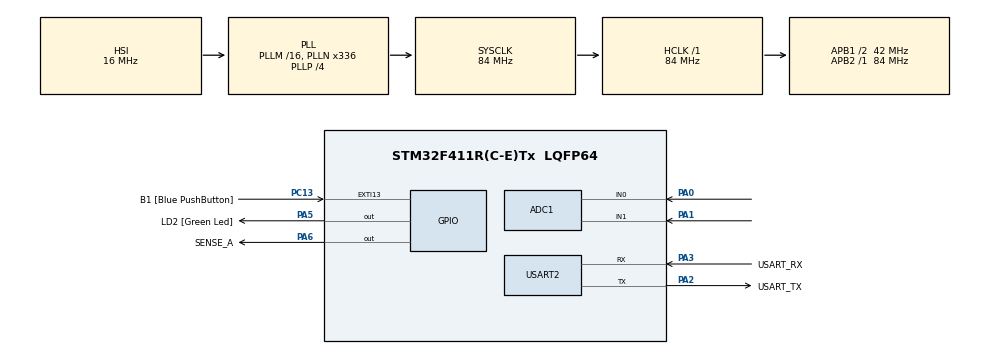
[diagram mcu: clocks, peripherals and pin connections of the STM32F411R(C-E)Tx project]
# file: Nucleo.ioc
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ADC1.Channel-0\#ChannelRegularConversion=ADC_CHANNEL_0
ADC1.Channel-1\#ChannelRegularConversion=ADC_CHANNEL_1
ADC1.Channel-2\#ChannelRegularConversion=ADC_CHANNEL_TEMPSENSOR
ADC1.ContinuousConvMode=ENABLE
ADC1.NbrOfConversion=3
ADC1.NbrOfConversionFlag=1
ADC1.Rank-0\#ChannelRegularConversion=1
ADC1.Rank-1\#ChannelRegularConversion=2
ADC1.Rank-2\#ChannelRegularConversion=3
ADC1.SamplingTime-0\#ChannelRegularConversion=ADC_SAMPLETIME_28CYCLES
ADC1.SamplingTime-1\#ChannelRegularConversion=ADC_SAMPLETIME_84CYCLES
ADC1.SamplingTime-2\#ChannelRegularConversion=ADC_SAMPLETIME_112CYCLES
ADC1.ScanConvMode=ENABLE
ADC1.master=1
FREERTOS.INCLUDE_vTaskDelayUntil=1
FREERTOS.Tasks01=ControlLogic,0,128,startControlLogic,Default,NULL,Static,ControlLogicBuffer,ControlLogicControlBlock;Acquisition,3,128,startAcquisition,Default,NULL,Static,AcquisitionBuffer,AcquisitionControlBlock;Processing,0,128,startProcessing,Default,NULL,Static,ProcessingBuffer,ProcessingControlBlock;Monitoring,-2,128,startMonitoring,Default,NULL,Static,MonitoringBuffer,MonitoringControlBlock
Mcu.Family=STM32F4
Mcu.Name=STM32F411R(C-E)Tx
Mcu.Package=LQFP64
NVIC.PriorityGroup=NVIC_PRIORITYGROUP_4
PA0-WKUP.Signal=ADCx_IN0
PA1.Signal=ADCx_IN1
PA13.GPIO_Label=TMS
PA13.Mode=Serial_Wire
PA13.Signal=SYS_JTMS-SWDIO
PA14.GPIO_Label=TCK
PA14.Mode=Serial_Wire
PA14.Signal=SYS_JTCK-SWCLK
PA2.GPIO_Label=USART_TX
PA2.Mode=Asynchronous
PA2.Signal=USART2_TX
PA3.GPIO_Label=USART_RX
PA3.Mode=Asynchronous
PA3.Signal=USART2_RX
PA5.GPIO_Label=LD2 [Green Led]
PA5.Signal=GPIO_Output
PA6.GPIO_Label=SENSE_A
PA6.Signal=GPIO_Output
PB3.GPIO_Label=SWO
PB3.Signal=SYS_JTDO-SWO
PC13-ANTI_TAMP.GPIO_Label=B1 [Blue PushButton]
PC13-ANTI_TAMP.GPIO_ModeDefaultEXTI=GPIO_MODE_IT_FALLING
PC13-ANTI_TAMP.Signal=GPXTI13
PC14-OSC32_IN.Mode=LSE-External-Oscillator
PC14-OSC32_IN.Signal=RCC_OSC32_IN
PC15-OSC32_OUT.Mode=LSE-External-Oscillator
PC15-OSC32_OUT.Signal=RCC_OSC32_OUT
PH0\ -\ OSC_IN.Mode=HSE-External-Clock-Source
PH0\ -\ OSC_IN.Signal=RCC_OSC_IN
PH1\ -\ OSC_OUT.Mode=HSE-External-Clock-Source
PH1\ -\ OSC_OUT.Signal=RCC_OSC_OUT
ProjectManager.HeapSize=0x200
ProjectManager.StackSize=0x400
ProjectManager.TargetToolchain=STM32CubeIDE
RCC.48MHZClocksFreq_Value=84000000
RCC.AHBFreq_Value=84000000
RCC.APB1CLKDivider=RCC_HCLK_DIV2
RCC.APB1Freq_Value=42000000
RCC.APB1TimFreq_Value=84000000
RCC.APB2Freq_Value=84000000
RCC.APB2TimFreq_Value=84000000
RCC.CortexFreq_Value=84000000
RCC.FLatency-AdvancedSettings=FLASH_LATENCY_2
RCC.HCLKFreq_Value=84000000
RCC.HSE_VALUE=8000000
RCC.HSI_VALUE=16000000
RCC.PLLN=336
RCC.PLLP=RCC_PLLP_DIV4
RCC.SYSCLKFreq_VALUE=84000000
RCC.SYSCLKSource=RCC_SYSCLKSOURCE_PLLCLK
RCC.VCOOutputFreq_Value=336000000
SH.ADCx_IN0.0=ADC1_IN0,IN0
SH.ADCx_IN1.0=ADC1_IN1,IN1
USART2.VirtualMode=VM_ASYNC
VP_ADC1_TempSens_Input.Mode=IN-TempSens
VP_FREERTOS_VS_CMSIS_V1.Mode=CMSIS_V1
board=NUCLEO-F411RE

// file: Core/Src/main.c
/* USER CODE BEGIN Header */
/**
  ******************************************************************************
  * @file           : main.c
  * @brief          : Main program body
  ******************************************************************************
  * @attention
  *
  * <h2><center>&copy; Copyright (c) 2021 STMicroelectronics.
  * All rights reserved.</center></h2>
  *
  * This software component is licensed by ST under BSD 3-Clause license,
  * the "License"; You may not use this file except in compliance with the
  * License. You may obtain a copy of the License at:
  *                        opensource.org/licenses/BSD-3-Clause
  *
  ******************************************************************************
  */
/* USER CODE END Header */
#include "main.h"
#include "cmsis_os.h"

/* USER CODE BEGIN Includes */
#include "task.h"
/* User-defined libraries */
#include <stdio.h>
#include <stdbool.h>
#include <stdint.h>

#include "retarget.h"

#include "../IncPSP/acquisition.h"
#include "../IncPSP/common.h"
#include "../IncPSP/controlLogic.h"
#include "../IncPSP/monitoring.h"
#include "../IncPSP/processing.h"
#include "../IncPSP/storage.h"
#include "../IncPSP/transmission.h"
#include "../IncPSP/gpio.h"
#include <string.h>

/* USER CODE END Includes */

ADC_HandleTypeDef hadc1;

UART_HandleTypeDef huart2;

osThreadId ControlLogicHandle;
uint32_t ControlLogicBuffer[ 128 ];
osStaticThreadDef_t ControlLogicControlBlock;
osThreadId AcquisitionHandle;
uint32_t AcquisitionBuffer[ 128 ];
osStaticThreadDef_t AcquisitionControlBlock;
osThreadId ProcessingHandle;
uint32_t ProcessingBuffer[ 128 ];
osStaticThreadDef_t ProcessingControlBlock;
osThreadId MonitoringHandle;
uint32_t MonitoringBuffer[ 128 ];
osStaticThreadDef_t MonitoringControlBlock;

void SystemClock_Config(void);
static void MX_GPIO_Init(void);
static void MX_USART2_UART_Init(void);
static void MX_ADC1_Init(void);
void startControlLogic(void const * argument);
void startAcquisition(void const * argument);
void startProcessing(void const * argument);
void startMonitoring(void const * argument);

int main(void)
{

  /* MCU Configuration--------------------------------------------------------*/

  /* Reset of all peripherals, Initializes the Flash interface and the Systick. */
  HAL_Init();

  /* Configure the system clock */
  SystemClock_Config();

  /* Initialize all configured peripherals */
  MX_GPIO_Init();
  MX_USART2_UART_Init();
  MX_ADC1_Init();
  /* USER CODE BEGIN 2 */
  RetargetInit(&huart2);
  for(int i = 0; i < 500; i++) printf(" \r\n");
  HAL_Delay(250);
  printf("Starting:\r\n");
  HAL_Delay(250);
  /* USER CODE END 2 */

  /* Create the thread(s) */
  /* definition and creation of ControlLogic */
  osThreadStaticDef(ControlLogic, startControlLogic, osPriorityNormal, 0, 128, ControlLogicBuffer, &ControlLogicControlBlock);
  ControlLogicHandle = osThreadCreate(osThread(ControlLogic), NULL);

  /* definition and creation of Acquisition */
  osThreadStaticDef(Acquisition, startAcquisition, osPriorityRealtime, 0, 128, AcquisitionBuffer, &AcquisitionControlBlock);
  AcquisitionHandle = osThreadCreate(osThread(Acquisition), NULL);

  /* definition and creation of Processing */
  osThreadStaticDef(Processing, startProcessing, osPriorityNormal, 0, 128, ProcessingBuffer, &ProcessingControlBlock);
  ProcessingHandle = osThreadCreate(osThread(Processing), NULL);

  /* definition and creation of Monitoring */
  osThreadStaticDef(Monitoring, startMonitoring, osPriorityLow, 0, 128, MonitoringBuffer, &MonitoringControlBlock);
  MonitoringHandle = osThreadCreate(osThread(Monitoring), NULL);

  /* Start scheduler */
  osKernelStart();

  /* We should never get here as control is now taken by the scheduler */
  /* Infinite loop */
  while (1)
  {

  }
}

void SystemClock_Config(void)
{
  RCC_OscInitTypeDef RCC_OscInitStruct = {0};
  RCC_ClkInitTypeDef RCC_ClkInitStruct = {0};

  /** Configure the main internal regulator output voltage
  */
  __HAL_RCC_PWR_CLK_ENABLE();
  __HAL_PWR_VOLTAGESCALING_CONFIG(PWR_REGULATOR_VOLTAGE_SCALE1);
  /** Initializes the RCC Oscillators according to the specified parameters
  * in the RCC_OscInitTypeDef structure.
  */
  RCC_OscInitStruct.OscillatorType = RCC_OSCILLATORTYPE_HSI;
  RCC_OscInitStruct.HSIState = RCC_HSI_ON;
  RCC_OscInitStruct.HSICalibrationValue = RCC_HSICALIBRATION_DEFAULT;
  RCC_OscInitStruct.PLL.PLLState = RCC_PLL_ON;
  RCC_OscInitStruct.PLL.PLLSource = RCC_PLLSOURCE_HSI;
  RCC_OscInitStruct.PLL.PLLM = 16;
  RCC_OscInitStruct.PLL.PLLN = 336;
  RCC_OscInitStruct.PLL.PLLP = RCC_PLLP_DIV4;
  RCC_OscInitStruct.PLL.PLLQ = 4;
  if (HAL_RCC_OscConfig(&RCC_OscInitStruct) != HAL_OK)
  {
    Error_Handler();
  }
  /** Initializes the CPU, AHB and APB buses clocks
  */
  RCC_ClkInitStruct.ClockType = RCC_CLOCKTYPE_HCLK|RCC_CLOCKTYPE_SYSCLK
                              |RCC_CLOCKTYPE_PCLK1|RCC_CLOCKTYPE_PCLK2;
  RCC_ClkInitStruct.SYSCLKSource = RCC_SYSCLKSOURCE_PLLCLK;
  RCC_ClkInitStruct.AHBCLKDivider = RCC_SYSCLK_DIV1;
  RCC_ClkInitStruct.APB1CLKDivider = RCC_HCLK_DIV2;
  RCC_ClkInitStruct.APB2CLKDivider = RCC_HCLK_DIV1;

  if (HAL_RCC_ClockConfig(&RCC_ClkInitStruct, FLASH_LATENCY_2) != HAL_OK)
  {
    Error_Handler();
  }
}

static void MX_ADC1_Init(void)
{

  ADC_ChannelConfTypeDef sConfig = {0};

  /** Configure the global features of the ADC (Clock, Resolution, Data Alignment and number of conversion)
  */
  hadc1.Instance = ADC1;
  hadc1.Init.ClockPrescaler = ADC_CLOCK_SYNC_PCLK_DIV4;
  hadc1.Init.Resolution = ADC_RESOLUTION_12B;
  hadc1.Init.ScanConvMode = ENABLE;
  hadc1.Init.ContinuousConvMode = ENABLE;
  hadc1.Init.DiscontinuousConvMode = DISABLE;
  hadc1.Init.ExternalTrigConvEdge = ADC_EXTERNALTRIGCONVEDGE_NONE;
  hadc1.Init.ExternalTrigConv = ADC_SOFTWARE_START;
  hadc1.Init.DataAlign = ADC_DATAALIGN_RIGHT;
  hadc1.Init.NbrOfConversion = 3;
  hadc1.Init.DMAContinuousRequests = DISABLE;
  hadc1.Init.EOCSelection = ADC_EOC_SINGLE_CONV;
  if (HAL_ADC_Init(&hadc1) != HAL_OK)
  {
    Error_Handler();
  }
//  /** Configure for the selected ADC regular channel its corresponding rank in the sequencer and its sample time.
//  */
//  sConfig.Channel = ADC_CHANNEL_0;
//  sConfig.Rank = 1;
//  sConfig.SamplingTime = ADC_SAMPLETIME_28CYCLES;
//  if (HAL_ADC_ConfigChannel(&hadc1, &sConfig) != HAL_OK)
//  {
//    Error_Handler();
//  }
//  /** Configure for the selected ADC regular channel its corresponding rank in the sequencer and its sample time.
//  */
//  sConfig.Channel = ADC_CHANNEL_1;
//  sConfig.Rank = 2;
//  sConfig.SamplingTime = ADC_SAMPLETIME_84CYCLES;
//  if (HAL_ADC_ConfigChannel(&hadc1, &sConfig) != HAL_OK)
//  {
//    Error_Handler();
//  }
//  /** Configure for the selected ADC regular channel its corresponding rank in the sequencer and its sample time.
//  */
//  sConfig.Channel = ADC_CHANNEL_TEMPSENSOR;
//  sConfig.Rank = 3;
//  sConfig.SamplingTime = ADC_SAMPLETIME_112CYCLES;
//  if (HAL_ADC_ConfigChannel(&hadc1, &sConfig) != HAL_OK)
//  {
//    Error_Handler();
//  }

}

void ADC_Select_CH0 (void)
{
	ADC_ChannelConfTypeDef sConfig = {0};
	  /** Configure for the selected ADC regular channel its corresponding rank in the sequencer and its sample time.
	  */
	  sConfig.Channel = ADC_CHANNEL_0;
	  sConfig.Rank = 1;
	  sConfig.SamplingTime = ADC_SAMPLETIME_28CYCLES;
	  if (HAL_ADC_ConfigChannel(&hadc1, &sConfig) != HAL_OK)
	  {
	    Error_Handler();
	  }
}

void ADC_Select_CH1 (void)
{
	ADC_ChannelConfTypeDef sConfig = {0};
	  /** Configure for the selected ADC regular channel its corresponding rank in the sequencer and its sample time.
	  */
	  sConfig.Channel = ADC_CHANNEL_1;
	  sConfig.Rank = 1;
	  sConfig.SamplingTime = ADC_SAMPLETIME_84CYCLES;
	  if (HAL_ADC_ConfigChannel(&hadc1, &sConfig) != HAL_OK)
	  {
	    Error_Handler();
	  }
}

void ADC_Select_CHTemp (void)
{
	ADC_ChannelConfTypeDef sConfig = {0};
	  /** Configure for the selected ADC regular channel its corresponding rank in the sequencer and its sample time.
	  */
	  sConfig.Channel = ADC_CHANNEL_TEMPSENSOR;
	  sConfig.Rank = 1;
	  sConfig.SamplingTime = ADC_SAMPLETIME_112CYCLES;
	  if (HAL_ADC_ConfigChannel(&hadc1, &sConfig) != HAL_OK)
	  {
	    Error_Handler();
	  }
}

static void MX_USART2_UART_Init(void)
{

  huart2.Instance = USART2;
  huart2.Init.BaudRate = 115200;
  huart2.Init.WordLength = UART_WORDLENGTH_8B;
  huart2.Init.StopBits = UART_STOPBITS_1;
  huart2.Init.Parity = UART_PARITY_NONE;
  huart2.Init.Mode = UART_MODE_TX_RX;
  huart2.Init.HwFlowCtl = UART_HWCONTROL_NONE;
  huart2.Init.OverSampling = UART_OVERSAMPLING_16;
  if (HAL_UART_Init(&huart2) != HAL_OK)
  {
    Error_Handler();
  }

}

static void MX_GPIO_Init(void)
{
  GPIO_InitTypeDef GPIO_InitStruct = {0};

  /* GPIO Ports Clock Enable */
  __HAL_RCC_GPIOC_CLK_ENABLE();
  __HAL_RCC_GPIOH_CLK_ENABLE();
  __HAL_RCC_GPIOA_CLK_ENABLE();
  __HAL_RCC_GPIOB_CLK_ENABLE();

  /*Configure GPIO pin Output Level */
  HAL_GPIO_WritePin(GPIOA, LD2_Pin|SENSE_A_Pin, GPIO_PIN_RESET);

  /*Configure GPIO pin : B1_Pin */
  GPIO_InitStruct.Pin = B1_Pin;
  GPIO_InitStruct.Mode = GPIO_MODE_IT_FALLING;
  GPIO_InitStruct.Pull = GPIO_NOPULL;
  HAL_GPIO_Init(B1_GPIO_Port, &GPIO_InitStruct);

  /*Configure GPIO pins : LD2_Pin SENSE_A_Pin */
  GPIO_InitStruct.Pin = LD2_Pin|SENSE_A_Pin;
  GPIO_InitStruct.Mode = GPIO_MODE_OUTPUT_PP;
  GPIO_InitStruct.Pull = GPIO_NOPULL;
  GPIO_InitStruct.Speed = GPIO_SPEED_FREQ_LOW;
  HAL_GPIO_Init(GPIOA, &GPIO_InitStruct);

}

/* USER CODE BEGIN 4 */
bool printDiv = true;
/* USER CODE END 4 */

void startControlLogic(void const * argument)
{
  /* USER CODE BEGIN 5 */
	static TickType_t time_init = 0;
  /* Infinite loop */
	while(ENABLE_CONTROL_LOGIC) {

		if(printDiv) printf("-------------\r\n");
		toggleLed();

		vTaskDelayUntil(&time_init, CONTROL_LOGIC_TASK_DELAY);
	}

  /* USER CODE END 5 */
}

void startAcquisition(void const * argument)
{
  /* USER CODE BEGIN startAcquisition */
	static TickType_t time_init = 0;

	setup_A();
	printf("\n\n");
  /* Infinite loop */
	while(ENABLE_ACQUISITION) {
		switch(loop_A()) {
		case 1: vTaskDelayUntil(&time_init, ACQUISITION_TASK_DELAY1);
				break;

		case 2: vTaskDelayUntil(&time_init, ACQUISITION_TASK_DELAY2);
				break;

		default:vTaskDelayUntil(&time_init, ACQUISITION_TASK_DELAY0);
				break;
		}
		if(time_init > 4000) break;
	}
	//printf("%d\n\r",time_init);
	if(ENABLE_ACQUISITION) printDiv = false;
	vTaskDelete(NULL);

  /* USER CODE END startAcquisition */
}

void startProcessing(void const * argument)
{
  /* USER CODE BEGIN startProcessing */
  /* Infinite loop */
	static GPIO_PinState pressed = GPIO_PIN_SET;
	static int counter = 0;
	extern ui16 ala;

	static TickType_t time_init = 0;
  /* Infinite loop */
	while(ENABLE_PROCESSING) {
		if(HAL_GPIO_ReadPin(B1_GPIO_Port, B1_Pin) != pressed) {
			pressed = HAL_GPIO_ReadPin(B1_GPIO_Port, B1_Pin);
			if(!pressed) printf("PRESSED  %d\r\n", ++counter);
			else printf("RELEASED %d\r\n", counter);
		}
		vTaskDelayUntil(&time_init, PROCESSING_TASK_DELAY);

		imuRead_A();
		printf("ALA: %d\r\n", (int)ala);
	}
	vTaskDelete(NULL);
  /* USER CODE END startProcessing */
}

void startMonitoring(void const * argument)
{
  /* USER CODE BEGIN startMonitoring */
	static TickType_t time_init = 0;

	extern bool continuity[4];
	extern float batteryVoltage;
	extern float temperature;

	printf("Monitoring Start\r\n");

	setup_M();

  /* Infinite loop */
	while(ENABLE_MONITORING) {
		//loop_M();

//		checkContinuity_M();
//		printf("Continuity: ");
//		for(int i = 0; i < 4; i++) printf("%d ", continuity[i]);
//		printf("\r\n");
		checkBatteryVoltage_M();
//		printf("%f\r\n", batteryVoltage);
		printf("Voltage 1: %d\r\n", (int)batteryVoltage);
		printf("Temperature: %d\r\n", (int)temperature);
		vTaskDelayUntil(&time_init, MONITORING_TASK_DELAY);
	}

	vTaskDelete(NULL);
  /* USER CODE END startMonitoring */
}

void Error_Handler(void)
{
  __disable_irq();
  while (1)
  {
  }
}

/************************ (C) COPYRIGHT STMicroelectronics *****END OF FILE****/
